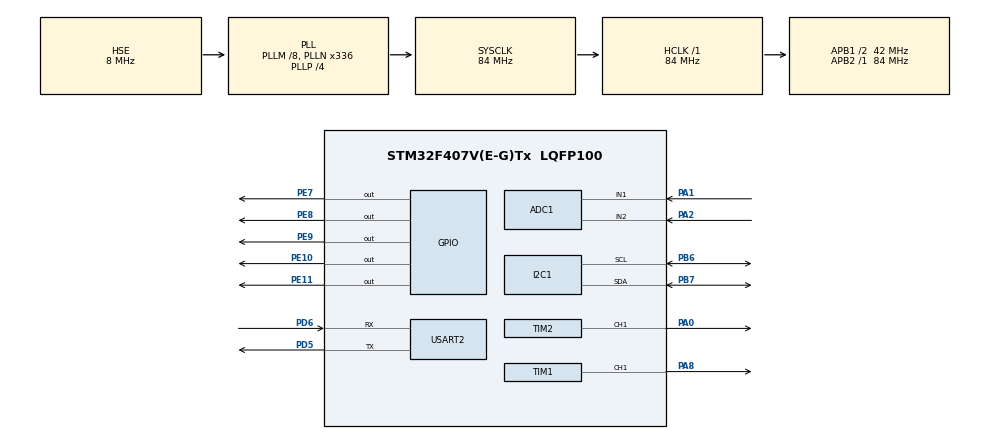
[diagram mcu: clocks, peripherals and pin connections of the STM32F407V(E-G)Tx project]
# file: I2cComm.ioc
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ADC1.Channel-10\#ChannelRegularConversion=ADC_CHANNEL_2
ADC1.Channel-7\#ChannelRegularConversion=ADC_CHANNEL_1
ADC1.Channel-8\#ChannelInjectedConversion=ADC_CHANNEL_2
ADC1.Channel-9\#ChannelInjectedConversion=ADC_CHANNEL_2
ADC1.ContinuousConvMode=ENABLE
ADC1.DMAContinuousRequests=ENABLE
ADC1.EOCSelection=ADC_EOC_SEQ_CONV
ADC1.EnableAnalogWatchDog=true
ADC1.ITMode=ENABLE
ADC1.InjNumberOfConversion=2
ADC1.InjectedOffset-8\#ChannelInjectedConversion=0
ADC1.InjectedOffset-9\#ChannelInjectedConversion=0
ADC1.InjectedRank-8\#ChannelInjectedConversion=1
ADC1.InjectedRank-9\#ChannelInjectedConversion=2
ADC1.NbrOfConversion=2
ADC1.NbrOfConversionFlag=1
ADC1.Rank-10\#ChannelRegularConversion=2
ADC1.Rank-7\#ChannelRegularConversion=1
ADC1.SamplingTime-10\#ChannelRegularConversion=ADC_SAMPLETIME_480CYCLES
ADC1.SamplingTime-7\#ChannelRegularConversion=ADC_SAMPLETIME_480CYCLES
ADC1.SamplingTime-8\#ChannelInjectedConversion=ADC_SAMPLETIME_3CYCLES
ADC1.SamplingTime-9\#ChannelInjectedConversion=ADC_SAMPLETIME_3CYCLES
ADC1.WatchdogChannel=ADC_CHANNEL_1
ADC1.master=1
Dma.ADC1.0.Direction=DMA_PERIPH_TO_MEMORY
Dma.ADC1.0.FIFOMode=DMA_FIFOMODE_DISABLE
Dma.ADC1.0.Instance=DMA2_Stream0
Dma.ADC1.0.MemDataAlignment=DMA_MDATAALIGN_HALFWORD
Dma.ADC1.0.MemInc=DMA_MINC_ENABLE
Dma.ADC1.0.Mode=DMA_CIRCULAR
Dma.ADC1.0.PeriphDataAlignment=DMA_PDATAALIGN_HALFWORD
Dma.ADC1.0.PeriphInc=DMA_PINC_DISABLE
Dma.ADC1.0.Priority=DMA_PRIORITY_LOW
Dma.Request0=ADC1
Mcu.Family=STM32F4
Mcu.Name=STM32F407V(E-G)Tx
Mcu.Package=LQFP100
NVIC.ADC_IRQn=true\:0\:0\:false\:false\:true\:true\:true\:true
NVIC.DMA2_Stream0_IRQn=true\:0\:0\:false\:false\:true\:false\:true\:true
NVIC.PriorityGroup=NVIC_PRIORITYGROUP_0
NVIC.USART2_IRQn=true\:0\:0\:false\:false\:true\:true\:true\:true
PA0-WKUP.Signal=S_TIM2_CH1_ETR
PA1.Signal=ADCx_IN1
PA13.Mode=Trace_Asynchronous_SW
PA13.Signal=SYS_JTMS-SWDIO
PA14.Mode=Trace_Asynchronous_SW
PA14.Signal=SYS_JTCK-SWCLK
PA2.Signal=ADCx_IN2
PA8.Signal=S_TIM1_CH1
PB3.Mode=Trace_Asynchronous_SW
PB3.Signal=SYS_JTDO-SWO
PB6.Mode=I2C
PB6.Signal=I2C1_SCL
PB7.Mode=I2C
PB7.Signal=I2C1_SDA
PD5.Mode=Asynchronous
PD5.Signal=USART2_TX
PD6.Mode=Asynchronous
PD6.Signal=USART2_RX
PE10.Signal=GPIO_Output
PE11.Signal=GPIO_Output
PE7.Signal=GPIO_Output
PE8.Signal=GPIO_Output
PE9.Signal=GPIO_Output
PH0-OSC_IN.Mode=HSE-External-Oscillator
PH0-OSC_IN.Signal=RCC_OSC_IN
PH1-OSC_OUT.Mode=HSE-External-Oscillator
PH1-OSC_OUT.Signal=RCC_OSC_OUT
ProjectManager.HeapSize=0x200
ProjectManager.StackSize=0x400
ProjectManager.TargetToolchain=STM32CubeIDE
RCC.48MHZClocksFreq_Value=48000000
RCC.AHBFreq_Value=84000000
RCC.APB1CLKDivider=RCC_HCLK_DIV2
RCC.APB1Freq_Value=42000000
RCC.APB1TimFreq_Value=84000000
RCC.APB2Freq_Value=84000000
RCC.APB2TimFreq_Value=84000000
RCC.CortexFreq_Value=84000000
RCC.HCLKFreq_Value=84000000
RCC.HSE_VALUE=8000000
RCC.HSI_VALUE=16000000
RCC.LSE_VALUE=32768
RCC.PLLM=8
RCC.PLLN=336
RCC.PLLP=RCC_PLLP_DIV4
RCC.PLLQ=7
RCC.PLLSourceVirtual=RCC_PLLSOURCE_HSE
RCC.SYSCLKFreq_VALUE=84000000
RCC.SYSCLKSource=RCC_SYSCLKSOURCE_PLLCLK
RCC.VCOOutputFreq_Value=336000000
SH.ADCx_IN1.0=ADC1_IN1,IN1
SH.ADCx_IN2.0=ADC1_IN2,IN2
SH.S_TIM1_CH1.0=TIM1_CH1,PWM Generation1 CH1
SH.S_TIM2_CH1_ETR.0=TIM2_CH1,PWM Generation1 CH1
TIM1.Channel-PWM\ Generation1\ CH1=TIM_CHANNEL_1
TIM1.Period=199
TIM1.Prescaler=69
TIM2.Channel-PWM\ Generation1\ CH1=TIM_CHANNEL_1
TIM2.Period=199
TIM2.Prescaler=69
USART2.VirtualMode=VM_ASYNC
VP_TIM1_VS_ClockSourceINT.Mode=Internal
VP_TIM2_VS_ClockSourceINT.Mode=Internal
board=STM32F407G-DISC1

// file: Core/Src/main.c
/* USER CODE BEGIN Header */
/**
  ******************************************************************************
  * @file           : main.c
  * @brief          : Main program body
  ******************************************************************************
  * @attention
  *
  * Copyright (c) 2025 STMicroelectronics.
  * All rights reserved.
  *
  * This software is licensed under terms that can be found in the LICENSE file
  * in the root directory of this software component.
  * If no LICENSE file comes with this software, it is provided AS-IS.
  *
  ******************************************************************************
  */
/* USER CODE END Header */
#include "main.h"

/* USER CODE BEGIN Includes */
#include "i2ccomm.h"
#include "ina226.h"
#include <stdio.h>
INA226_Handle_t ina226_sensor;

/* USER CODE END Includes */

ADC_HandleTypeDef hadc1;
DMA_HandleTypeDef hdma_adc1;

I2C_HandleTypeDef hi2c1;

TIM_HandleTypeDef htim1;
TIM_HandleTypeDef htim2;

UART_HandleTypeDef huart2;

void SystemClock_Config(void);
static void MX_GPIO_Init(void);
static void MX_DMA_Init(void);
static void MX_ADC1_Init(void);
static void MX_TIM2_Init(void);
static void MX_USART2_UART_Init(void);
static void MX_I2C1_Init(void);
static void MX_TIM1_Init(void);

/* USER CODE BEGIN 0 */
#include <stdio.h> // Required for printf

// This function sends a character over the ITM channel.
// It is the low-level implementation for our _write function.
int __io_putchar(int ch)
{
  // ITM_SendChar is a Core-M function that sends a single character
  // to the ITM Port 0. This is the standard port for console output.
  ITM_SendChar(ch);
  return ch;
}

// Retargets the C library printf function to the ITM.
// This is the function that the C library will call.
int _write(int file, char *ptr, int len)
{
  int DataIdx;
  for (DataIdx = 0; DataIdx < len; DataIdx++)
  {
    __io_putchar(*ptr++);
  }
  return len;
}

float Vol_Curr_Readings[2]={0};
/* USER CODE END 0 */

int main(void)
{

  /* MCU Configuration--------------------------------------------------------*/

  /* Reset of all peripherals, Initializes the Flash interface and the Systick. */
  HAL_Init();

  /* Configure the system clock */
  SystemClock_Config();

  /* Initialize all configured peripherals */
  MX_GPIO_Init();
  MX_DMA_Init();
  MX_ADC1_Init();
  MX_TIM2_Init();
  MX_USART2_UART_Init();
//  I2C_ClearBus(&hi2c1);
  MX_I2C1_Init();
  MX_TIM1_Init();
  /* USER CODE BEGIN 2 */
  I2C_Scan(&hi2c1);

  float bus_voltage;
  float current_A;
  float power_W;

  if (INA226_Init(&ina226_sensor, &hi2c1, 0x40, 0.1f, 1.0f) != HAL_OK)
    {
        // Initialization failed, hang here or handle the error
	  printf("Init Failed \r\n");
        Error_Handler();
    }
  printf("Init Successfull \r\n");
  HAL_Delay(100);
  if (I2C_Init(&hi2c1,FirstDeviceAddress) != HAL_OK)
  {
	  printf("Failed to Initalize the First Device \n");
  }
  printf("Initlization Successfull of First Device \n");

  HAL_Delay(100);

  /* USER CODE END 2 */

  /* Infinite loop */
  while (1)
  {

    /* USER CODE BEGIN 3 */
	  HAL_StatusTypeDef status_v1 = HAL_ERROR;
	  HAL_StatusTypeDef status_c1 = HAL_ERROR;
	  status_v1 = I2C_ReadVoltage(&hi2c1, FirstDeviceAddress , &Vol_Curr_Readings[0]);
	  status_c1 = I2C_ReadCurrent(&hi2c1, FirstDeviceAddress , &Vol_Curr_Readings[1]);
	  printf("Loop Successfully Executed \n");
	  HAL_Delay(1000);
	    HAL_StatusTypeDef status_v, status_c, status_p;

	    status_v = INA226_ReadBusVoltage(&ina226_sensor, &bus_voltage);
	    status_c = INA226_ReadCurrent(&ina226_sensor, &current_A);
	    status_p = INA226_ReadPower(&ina226_sensor, &power_W);

	    // Check if all reads were successful
	    if (status_v == HAL_OK && status_c == HAL_OK && status_p == HAL_OK)
	    {
	        // You can now use the variables bus_voltage, current_A, and power_W
	        // For example, print them via a debugger or a UART connection
	        // Note: printf requires retargeting to UART or ITM Data Console in CubeIDE
	    	printf("Succesfully read the Voltage and Current readings from the I2c IC \r\n ");
	    }
	    else
	    {
	        // An error occurred during I2C communication
	        printf("Failed to read from INA226\r\n");
	    }

	    // Wait for a second before the next reading
	    HAL_Delay(1000);

  }
  /* USER CODE END 3 */
}

void SystemClock_Config(void)
{
  RCC_OscInitTypeDef RCC_OscInitStruct = {0};
  RCC_ClkInitTypeDef RCC_ClkInitStruct = {0};

  /** Configure the main internal regulator output voltage
  */
  __HAL_RCC_PWR_CLK_ENABLE();
  __HAL_PWR_VOLTAGESCALING_CONFIG(PWR_REGULATOR_VOLTAGE_SCALE1);

  /** Initializes the RCC Oscillators according to the specified parameters
  * in the RCC_OscInitTypeDef structure.
  */
  RCC_OscInitStruct.OscillatorType = RCC_OSCILLATORTYPE_HSE;
  RCC_OscInitStruct.HSEState = RCC_HSE_ON;
  RCC_OscInitStruct.PLL.PLLState = RCC_PLL_ON;
  RCC_OscInitStruct.PLL.PLLSource = RCC_PLLSOURCE_HSE;
  RCC_OscInitStruct.PLL.PLLM = 8;
  RCC_OscInitStruct.PLL.PLLN = 336;
  RCC_OscInitStruct.PLL.PLLP = RCC_PLLP_DIV4;
  RCC_OscInitStruct.PLL.PLLQ = 7;
  if (HAL_RCC_OscConfig(&RCC_OscInitStruct) != HAL_OK)
  {
    Error_Handler();
  }

  /** Initializes the CPU, AHB and APB buses clocks
  */
  RCC_ClkInitStruct.ClockType = RCC_CLOCKTYPE_HCLK|RCC_CLOCKTYPE_SYSCLK
                              |RCC_CLOCKTYPE_PCLK1|RCC_CLOCKTYPE_PCLK2;
  RCC_ClkInitStruct.SYSCLKSource = RCC_SYSCLKSOURCE_PLLCLK;
  RCC_ClkInitStruct.AHBCLKDivider = RCC_SYSCLK_DIV1;
  RCC_ClkInitStruct.APB1CLKDivider = RCC_HCLK_DIV2;
  RCC_ClkInitStruct.APB2CLKDivider = RCC_HCLK_DIV1;

  if (HAL_RCC_ClockConfig(&RCC_ClkInitStruct, FLASH_LATENCY_2) != HAL_OK)
  {
    Error_Handler();
  }
}

static void MX_ADC1_Init(void)
{

  ADC_AnalogWDGConfTypeDef AnalogWDGConfig = {0};
  ADC_ChannelConfTypeDef sConfig = {0};
  ADC_InjectionConfTypeDef sConfigInjected = {0};

  /** Configure the global features of the ADC (Clock, Resolution, Data Alignment and number of conversion)
  */
  hadc1.Instance = ADC1;
  hadc1.Init.ClockPrescaler = ADC_CLOCK_SYNC_PCLK_DIV4;
  hadc1.Init.Resolution = ADC_RESOLUTION_12B;
  hadc1.Init.ScanConvMode = ENABLE;
  hadc1.Init.ContinuousConvMode = ENABLE;
  hadc1.Init.DiscontinuousConvMode = DISABLE;
  hadc1.Init.ExternalTrigConvEdge = ADC_EXTERNALTRIGCONVEDGE_NONE;
  hadc1.Init.ExternalTrigConv = ADC_SOFTWARE_START;
  hadc1.Init.DataAlign = ADC_DATAALIGN_RIGHT;
  hadc1.Init.NbrOfConversion = 2;
  hadc1.Init.DMAContinuousRequests = ENABLE;
  hadc1.Init.EOCSelection = ADC_EOC_SEQ_CONV;
  if (HAL_ADC_Init(&hadc1) != HAL_OK)
  {
    Error_Handler();
  }

  /** Configure the analog watchdog
  */
  AnalogWDGConfig.WatchdogMode = ADC_ANALOGWATCHDOG_SINGLE_REG;
  AnalogWDGConfig.HighThreshold = 0;
  AnalogWDGConfig.LowThreshold = 0;
  AnalogWDGConfig.Channel = ADC_CHANNEL_1;
  AnalogWDGConfig.ITMode = ENABLE;
  if (HAL_ADC_AnalogWDGConfig(&hadc1, &AnalogWDGConfig) != HAL_OK)
  {
    Error_Handler();
  }

  /** Configure for the selected ADC regular channel its corresponding rank in the sequencer and its sample time.
  */
  sConfig.Channel = ADC_CHANNEL_1;
  sConfig.Rank = 1;
  sConfig.SamplingTime = ADC_SAMPLETIME_480CYCLES;
  if (HAL_ADC_ConfigChannel(&hadc1, &sConfig) != HAL_OK)
  {
    Error_Handler();
  }

  /** Configure for the selected ADC regular channel its corresponding rank in the sequencer and its sample time.
  */
  sConfig.Channel = ADC_CHANNEL_2;
  sConfig.Rank = 2;
  if (HAL_ADC_ConfigChannel(&hadc1, &sConfig) != HAL_OK)
  {
    Error_Handler();
  }

  /** Configures for the selected ADC injected channel its corresponding rank in the sequencer and its sample time
  */
  sConfigInjected.InjectedChannel = ADC_CHANNEL_2;
  sConfigInjected.InjectedRank = 1;
  sConfigInjected.InjectedNbrOfConversion = 2;
  sConfigInjected.InjectedSamplingTime = ADC_SAMPLETIME_3CYCLES;
  sConfigInjected.ExternalTrigInjecConvEdge = ADC_EXTERNALTRIGINJECCONVEDGE_NONE;
  sConfigInjected.ExternalTrigInjecConv = ADC_INJECTED_SOFTWARE_START;
  sConfigInjected.AutoInjectedConv = DISABLE;
  sConfigInjected.InjectedDiscontinuousConvMode = DISABLE;
  sConfigInjected.InjectedOffset = 0;
  if (HAL_ADCEx_InjectedConfigChannel(&hadc1, &sConfigInjected) != HAL_OK)
  {
    Error_Handler();
  }

  /** Configures for the selected ADC injected channel its corresponding rank in the sequencer and its sample time
  */
  sConfigInjected.InjectedRank = 2;
  if (HAL_ADCEx_InjectedConfigChannel(&hadc1, &sConfigInjected) != HAL_OK)
  {
    Error_Handler();
  }

}

static void MX_I2C1_Init(void)
{

  hi2c1.Instance = I2C1;
  hi2c1.Init.ClockSpeed = 100000;
  hi2c1.Init.DutyCycle = I2C_DUTYCYCLE_2;
  hi2c1.Init.OwnAddress1 = 0;
  hi2c1.Init.AddressingMode = I2C_ADDRESSINGMODE_7BIT;
  hi2c1.Init.DualAddressMode = I2C_DUALADDRESS_DISABLE;
  hi2c1.Init.OwnAddress2 = 0;
  hi2c1.Init.GeneralCallMode = I2C_GENERALCALL_DISABLE;
  hi2c1.Init.NoStretchMode = I2C_NOSTRETCH_DISABLE;
  if (HAL_I2C_Init(&hi2c1) != HAL_OK)
  {
    Error_Handler();
  }

}

static void MX_TIM1_Init(void)
{

  TIM_ClockConfigTypeDef sClockSourceConfig = {0};
  TIM_MasterConfigTypeDef sMasterConfig = {0};
  TIM_OC_InitTypeDef sConfigOC = {0};
  TIM_BreakDeadTimeConfigTypeDef sBreakDeadTimeConfig = {0};

  htim1.Instance = TIM1;
  htim1.Init.Prescaler = 69;
  htim1.Init.CounterMode = TIM_COUNTERMODE_UP;
  htim1.Init.Period = 199;
  htim1.Init.ClockDivision = TIM_CLOCKDIVISION_DIV1;
  htim1.Init.RepetitionCounter = 0;
  htim1.Init.AutoReloadPreload = TIM_AUTORELOAD_PRELOAD_DISABLE;
  if (HAL_TIM_Base_Init(&htim1) != HAL_OK)
  {
    Error_Handler();
  }
  sClockSourceConfig.ClockSource = TIM_CLOCKSOURCE_INTERNAL;
  if (HAL_TIM_ConfigClockSource(&htim1, &sClockSourceConfig) != HAL_OK)
  {
    Error_Handler();
  }
  if (HAL_TIM_PWM_Init(&htim1) != HAL_OK)
  {
    Error_Handler();
  }
  sMasterConfig.MasterOutputTrigger = TIM_TRGO_RESET;
  sMasterConfig.MasterSlaveMode = TIM_MASTERSLAVEMODE_DISABLE;
  if (HAL_TIMEx_MasterConfigSynchronization(&htim1, &sMasterConfig) != HAL_OK)
  {
    Error_Handler();
  }
  sConfigOC.OCMode = TIM_OCMODE_PWM1;
  sConfigOC.Pulse = 0;
  sConfigOC.OCPolarity = TIM_OCPOLARITY_HIGH;
  sConfigOC.OCNPolarity = TIM_OCNPOLARITY_HIGH;
  sConfigOC.OCFastMode = TIM_OCFAST_DISABLE;
  sConfigOC.OCIdleState = TIM_OCIDLESTATE_RESET;
  sConfigOC.OCNIdleState = TIM_OCNIDLESTATE_RESET;
  if (HAL_TIM_PWM_ConfigChannel(&htim1, &sConfigOC, TIM_CHANNEL_1) != HAL_OK)
  {
    Error_Handler();
  }
  sBreakDeadTimeConfig.OffStateRunMode = TIM_OSSR_DISABLE;
  sBreakDeadTimeConfig.OffStateIDLEMode = TIM_OSSI_DISABLE;
  sBreakDeadTimeConfig.LockLevel = TIM_LOCKLEVEL_OFF;
  sBreakDeadTimeConfig.DeadTime = 0;
  sBreakDeadTimeConfig.BreakState = TIM_BREAK_DISABLE;
  sBreakDeadTimeConfig.BreakPolarity = TIM_BREAKPOLARITY_HIGH;
  sBreakDeadTimeConfig.AutomaticOutput = TIM_AUTOMATICOUTPUT_DISABLE;
  if (HAL_TIMEx_ConfigBreakDeadTime(&htim1, &sBreakDeadTimeConfig) != HAL_OK)
  {
    Error_Handler();
  }
  HAL_TIM_MspPostInit(&htim1);

}

static void MX_TIM2_Init(void)
{

  TIM_ClockConfigTypeDef sClockSourceConfig = {0};
  TIM_MasterConfigTypeDef sMasterConfig = {0};
  TIM_OC_InitTypeDef sConfigOC = {0};

  htim2.Instance = TIM2;
  htim2.Init.Prescaler = 69;
  htim2.Init.CounterMode = TIM_COUNTERMODE_UP;
  htim2.Init.Period = 199;
  htim2.Init.ClockDivision = TIM_CLOCKDIVISION_DIV1;
  htim2.Init.AutoReloadPreload = TIM_AUTORELOAD_PRELOAD_DISABLE;
  if (HAL_TIM_Base_Init(&htim2) != HAL_OK)
  {
    Error_Handler();
  }
  sClockSourceConfig.ClockSource = TIM_CLOCKSOURCE_INTERNAL;
  if (HAL_TIM_ConfigClockSource(&htim2, &sClockSourceConfig) != HAL_OK)
  {
    Error_Handler();
  }
  if (HAL_TIM_PWM_Init(&htim2) != HAL_OK)
  {
    Error_Handler();
  }
  sMasterConfig.MasterOutputTrigger = TIM_TRGO_RESET;
  sMasterConfig.MasterSlaveMode = TIM_MASTERSLAVEMODE_DISABLE;
  if (HAL_TIMEx_MasterConfigSynchronization(&htim2, &sMasterConfig) != HAL_OK)
  {
    Error_Handler();
  }
  sConfigOC.OCMode = TIM_OCMODE_PWM1;
  sConfigOC.Pulse = 0;
  sConfigOC.OCPolarity = TIM_OCPOLARITY_HIGH;
  sConfigOC.OCFastMode = TIM_OCFAST_DISABLE;
  if (HAL_TIM_PWM_ConfigChannel(&htim2, &sConfigOC, TIM_CHANNEL_1) != HAL_OK)
  {
    Error_Handler();
  }
  HAL_TIM_MspPostInit(&htim2);

}

static void MX_USART2_UART_Init(void)
{

  huart2.Instance = USART2;
  huart2.Init.BaudRate = 115200;
  huart2.Init.WordLength = UART_WORDLENGTH_8B;
  huart2.Init.StopBits = UART_STOPBITS_1;
  huart2.Init.Parity = UART_PARITY_NONE;
  huart2.Init.Mode = UART_MODE_TX_RX;
  huart2.Init.HwFlowCtl = UART_HWCONTROL_NONE;
  huart2.Init.OverSampling = UART_OVERSAMPLING_16;
  if (HAL_UART_Init(&huart2) != HAL_OK)
  {
    Error_Handler();
  }

}

static void MX_DMA_Init(void)
{

  /* DMA controller clock enable */
  __HAL_RCC_DMA2_CLK_ENABLE();

  /* DMA interrupt init */
  /* DMA2_Stream0_IRQn interrupt configuration */
  HAL_NVIC_SetPriority(DMA2_Stream0_IRQn, 0, 0);
  HAL_NVIC_EnableIRQ(DMA2_Stream0_IRQn);

}

static void MX_GPIO_Init(void)
{
  GPIO_InitTypeDef GPIO_InitStruct = {0};

  /* GPIO Ports Clock Enable */
  __HAL_RCC_GPIOH_CLK_ENABLE();
  __HAL_RCC_GPIOA_CLK_ENABLE();
  __HAL_RCC_GPIOE_CLK_ENABLE();
  __HAL_RCC_GPIOD_CLK_ENABLE();
  __HAL_RCC_GPIOB_CLK_ENABLE();

  /*Configure GPIO pin Output Level */
  HAL_GPIO_WritePin(GPIOE, GPIO_PIN_7|GPIO_PIN_8|GPIO_PIN_9|GPIO_PIN_10
                          |GPIO_PIN_11, GPIO_PIN_RESET);

  /*Configure GPIO pins : PE7 PE8 PE9 PE10
                           PE11 */
  GPIO_InitStruct.Pin = GPIO_PIN_7|GPIO_PIN_8|GPIO_PIN_9|GPIO_PIN_10
                          |GPIO_PIN_11;
  GPIO_InitStruct.Mode = GPIO_MODE_OUTPUT_PP;
  GPIO_InitStruct.Pull = GPIO_NOPULL;
  GPIO_InitStruct.Speed = GPIO_SPEED_FREQ_LOW;
  HAL_GPIO_Init(GPIOE, &GPIO_InitStruct);

}

void Error_Handler(void)
{
  __disable_irq();
  while (1)
  {
  }
}
